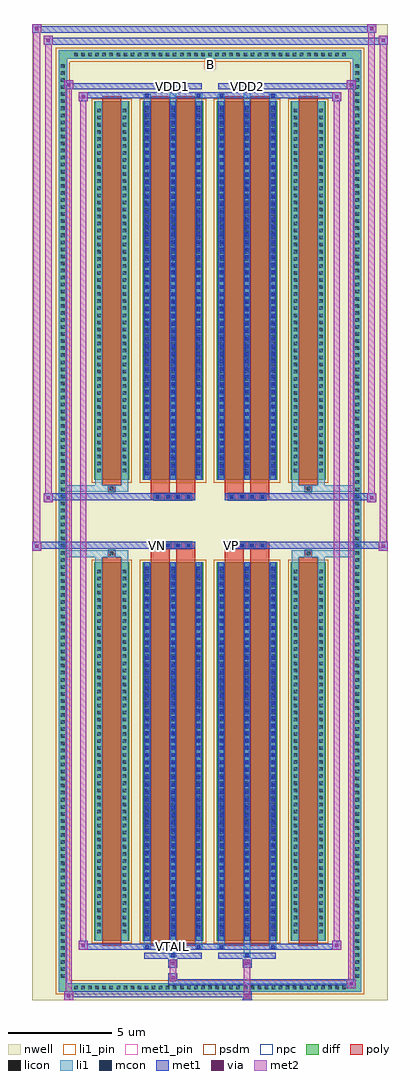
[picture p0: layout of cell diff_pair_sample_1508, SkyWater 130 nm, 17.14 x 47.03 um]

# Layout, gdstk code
import gdstk
lib = gdstk.Library(unit=1e-6, precision=5e-09)
def R(c, l, rs):  # rectangles x0, y0, x1, y1
    for r in rs: c.add(gdstk.rectangle(r[:2], r[2:], *l))
def A(c, l, x, y, w, h, nx, ny, dx, dy):  # array of equal rectangles
    R(c, l, [(x+i*dx, y+j*dy, x+i*dx+w, y+j*dy+h) for i in range(nx) for j in range(ny)])
def P(c, l, *ps):  # polygons
    for p in ps: c.add(gdstk.Polygon(p, *l))
nwell = (64, 20)
diff = (65, 20)
poly = (66, 20)
licon = (66, 44)
li1_pin = (67, 16)
li1 = (67, 20)
mcon = (67, 44)
met1_pin = (68, 16)
met1 = (68, 20)
via = (68, 44)
met2 = (69, 20)
psdm = (94, 20)
npc = (95, 20)

diff_pair_sample_1508 = lib.new_cell('diff_pair_sample_1508')
R(diff_pair_sample_1508, nwell, [(-8.57,-23.08,8.57,23.95), (-5.89,-21.27,-0.01,-0.805), (0.01,-21.27,5.89,-0.805), (-5.89,0.805,-0.01,21.27), (0.01,0.805,5.89,21.27)])
A(diff_pair_sample_1508, diff, -6.665, -22.68, 0.41, 0.41, 39, 2, 0.34, 44.95)
A(diff_pair_sample_1508, diff, -7.3, -22.135, 0.41, 0.41, 1, 130, 0, 0.34)
A(diff_pair_sample_1508, diff, 6.89, -22.135, 0.41, 0.41, 1, 130, 0, 0.34)
R(diff_pair_sample_1508, diff, [(-6.665,-22.68,6.665,-22.27), (-7.3,-22.135,-6.89,22.135), (6.89,-22.135,7.3,22.135), (-5.58,-20.225,-3.89,-1.985), (-3.25,-20.225,-0.32,-1.985), (0.32,-20.225,3.25,-1.985), (3.89,-20.225,5.58,-1.985), (-5.58,1.985,-3.89,20.225), (-3.25,1.985,-0.32,20.225), (0.32,1.985,3.25,20.225), (3.89,1.985,5.58,20.225), (-6.665,22.27,6.665,22.68)])
P(diff_pair_sample_1508, diff, [(7.3,22.68),(-7.3,22.68),(-7.3,-22.27),(-6.89,-22.27),(-6.89,22.27),(6.89,22.27),(6.89,-22.27),(-6.89,-22.27),(-7.3,-22.27),(-7.3,-22.68),(7.3,-22.68)])
A(diff_pair_sample_1508, poly, -2.7, -1.335, 0.33, 0.33, 4, 2, 0.5, 2.34)
A(diff_pair_sample_1508, poly, 0.87, -1.335, 0.33, 0.33, 4, 2, 0.5, 2.34)
R(diff_pair_sample_1508, poly, [(-5.19,-20.475,-4.28,-1.735), (-2.86,-20.475,-1.95,-1.735), (-1.62,-20.475,-0.71,-1.735), (0.71,-20.475,1.62,-1.735), (1.95,-20.475,2.86,-1.735), (4.28,-20.475,5.19,-1.735), (-4.9,-1.735,-4.57,-1.405), (-4.9,-1.735,-4.57,-1.405), (-2.86,-1.735,-1.95,-1.335), (-1.62,-1.735,-0.71,-1.335), (0.71,-1.735,1.62,-1.335), (1.95,-1.735,2.86,-1.335), (4.57,-1.735,4.9,-1.405), (4.57,-1.735,4.9,-1.405), (-2.86,-1.335,-0.71,-1.005), (0.71,-1.335,2.86,-1.005), (-2.86,1.005,-0.71,1.335), (0.71,1.005,2.86,1.335), (-2.86,1.335,-1.95,1.735), (-1.62,1.335,-0.71,1.735), (0.71,1.335,1.62,1.735), (1.95,1.335,2.86,1.735), (-4.9,1.405,-4.57,1.735), (-4.9,1.405,-4.57,1.735), (4.57,1.405,4.9,1.735), (4.57,1.405,4.9,1.735), (-5.19,1.735,-4.28,20.475), (-2.86,1.735,-1.95,20.475), (-1.62,1.735,-0.71,20.475), (0.71,1.735,1.62,20.475), (1.95,1.735,2.86,20.475), (4.28,1.735,5.19,20.475)])
A(diff_pair_sample_1508, licon, -6.545, -22.56, 0.17, 0.17, 39, 2, 0.34, 44.95)
A(diff_pair_sample_1508, licon, -7.18, -22.015, 0.17, 0.17, 1, 130, 0, 0.34)
A(diff_pair_sample_1508, licon, 7.01, -22.015, 0.17, 0.17, 1, 130, 0, 0.34)
A(diff_pair_sample_1508, licon, -5.44, -19.86, 0.17, 0.17, 1, 52, 0, 0.34)
A(diff_pair_sample_1508, licon, -4.2, -19.86, 0.17, 0.17, 1, 52, 0, 0.34)
A(diff_pair_sample_1508, licon, -3.11, -19.86, 0.17, 0.17, 3, 52, 1.24, 0.34)
A(diff_pair_sample_1508, licon, 0.46, -19.86, 0.17, 0.17, 3, 52, 1.24, 0.34)
A(diff_pair_sample_1508, licon, 4.03, -19.86, 0.17, 0.17, 1, 52, 0, 0.34)
A(diff_pair_sample_1508, licon, 5.27, -19.86, 0.17, 0.17, 1, 52, 0, 0.34)
A(diff_pair_sample_1508, licon, -2.62, -1.255, 0.17, 0.17, 4, 2, 0.5, 2.34)
A(diff_pair_sample_1508, licon, 0.95, -1.255, 0.17, 0.17, 4, 2, 0.5, 2.34)
A(diff_pair_sample_1508, licon, -5.44, 2.35, 0.17, 0.17, 1, 52, 0, 0.34)
A(diff_pair_sample_1508, licon, -4.2, 2.35, 0.17, 0.17, 1, 52, 0, 0.34)
A(diff_pair_sample_1508, licon, -3.11, 2.35, 0.17, 0.17, 3, 52, 1.24, 0.34)
A(diff_pair_sample_1508, licon, 0.46, 2.35, 0.17, 0.17, 3, 52, 1.24, 0.34)
A(diff_pair_sample_1508, licon, 4.03, 2.35, 0.17, 0.17, 1, 52, 0, 0.34)
A(diff_pair_sample_1508, licon, 5.27, 2.35, 0.17, 0.17, 1, 52, 0, 0.34)
R(diff_pair_sample_1508, licon, [(-4.82,-1.655,-4.65,-1.485), (4.65,-1.655,4.82,-1.485), (-4.82,1.485,-4.65,1.655), (4.65,1.485,4.82,1.655)])
R(diff_pair_sample_1508, li1_pin, [(-0.25,21.77,0.25,22.27)])
A(diff_pair_sample_1508, li1, -6.625, -22.64, 0.33, 0.33, 39, 2, 0.34, 44.95)
A(diff_pair_sample_1508, li1, -7.26, -22.095, 0.33, 0.33, 1, 130, 0, 0.34)
A(diff_pair_sample_1508, li1, 6.93, -22.095, 0.33, 0.33, 1, 130, 0, 0.34)
A(diff_pair_sample_1508, li1, -3.19, -20.225, 0.33, 18.24, 3, 2, 1.24, 22.21)
A(diff_pair_sample_1508, li1, 0.38, -20.225, 0.33, 18.24, 3, 2, 1.24, 22.21)
A(diff_pair_sample_1508, li1, -3.11, -20.01, 0.17, 0.17, 3, 50, 1.24, 0.36)
A(diff_pair_sample_1508, li1, -3.11, -20.01, 0.17, 17.81, 3, 2, 1.24, 22.21)
A(diff_pair_sample_1508, li1, 0.46, -20.01, 0.17, 0.17, 3, 50, 1.24, 0.36)
A(diff_pair_sample_1508, li1, 0.46, -20.01, 0.17, 17.81, 3, 2, 1.24, 22.21)
A(diff_pair_sample_1508, li1, -5.52, -19.94, 0.33, 0.33, 1, 52, 0, 0.34)
A(diff_pair_sample_1508, li1, -4.28, -19.94, 0.33, 0.33, 1, 52, 0, 0.34)
A(diff_pair_sample_1508, li1, -3.19, -19.94, 0.33, 0.33, 3, 52, 1.24, 0.34)
A(diff_pair_sample_1508, li1, 0.38, -19.94, 0.33, 0.33, 3, 52, 1.24, 0.34)
A(diff_pair_sample_1508, li1, 3.95, -19.94, 0.33, 0.33, 1, 52, 0, 0.34)
A(diff_pair_sample_1508, li1, 5.19, -19.94, 0.33, 0.33, 1, 52, 0, 0.34)
A(diff_pair_sample_1508, li1, -2.7, -1.335, 0.33, 0.33, 4, 2, 0.5, 2.34)
A(diff_pair_sample_1508, li1, 0.87, -1.335, 0.33, 0.33, 4, 2, 0.5, 2.34)
A(diff_pair_sample_1508, li1, -3.11, 2.2, 0.17, 0.17, 3, 50, 1.24, 0.36)
A(diff_pair_sample_1508, li1, 0.46, 2.2, 0.17, 0.17, 3, 50, 1.24, 0.36)
A(diff_pair_sample_1508, li1, -5.52, 2.27, 0.33, 0.33, 1, 52, 0, 0.34)
A(diff_pair_sample_1508, li1, -4.28, 2.27, 0.33, 0.33, 1, 52, 0, 0.34)
A(diff_pair_sample_1508, li1, -3.19, 2.27, 0.33, 0.33, 3, 52, 1.24, 0.34)
A(diff_pair_sample_1508, li1, 0.38, 2.27, 0.33, 0.33, 3, 52, 1.24, 0.34)
A(diff_pair_sample_1508, li1, 3.95, 2.27, 0.33, 0.33, 1, 52, 0, 0.34)
A(diff_pair_sample_1508, li1, 5.19, 2.27, 0.33, 0.33, 1, 52, 0, 0.34)
R(diff_pair_sample_1508, li1, [(-7.3,-22.68,-6.89,-22.27), (-7.3,-22.68,-6.89,-22.27), (-6.89,-22.68,6.89,-22.27), (6.89,-22.68,7.3,-22.27), (6.89,-22.68,7.3,-22.27), (-7.3,-22.27,-6.89,22.27), (6.89,-22.27,7.3,22.27), (-1.95,-21.03,-1.62,-20.225), (-1.87,-21.03,-1.7,-20.86), (1.62,-21.03,1.95,-20.225), (1.7,-21.03,1.87,-20.86), (-3.19,-20.6,-2.86,-20.225), (-3.11,-20.6,-2.94,-20.43), (-0.71,-20.6,-0.38,-20.225), (-0.63,-20.6,-0.46,-20.43), (0.38,-20.6,0.71,-20.225), (0.46,-20.6,0.63,-20.43), (2.86,-20.6,3.19,-20.225), (2.94,-20.6,3.11,-20.43), (-5.52,-20.225,-5.19,-1.985), (-4.28,-20.225,-3.95,-1.985), (3.95,-20.225,4.28,-1.985), (5.19,-20.225,5.52,-1.985), (-5.52,-1.985,-5.19,-1.405), (-4.28,-1.985,-3.95,-1.405), (3.95,-1.985,4.28,-1.405), (5.19,-1.985,5.52,-1.405), (-7.3,-1.735,-4.9,-1.405), (-5.52,-1.735,-4.9,-1.405), (-4.9,-1.735,-4.57,-1.405), (-4.57,-1.735,-3.95,-1.405), (3.95,-1.735,4.57,-1.405), (4.57,-1.735,4.9,-1.405), (4.57,-1.735,7.3,-1.405), (4.9,-1.735,5.52,-1.405), (-7.3,1.405,-4.9,1.735), (-5.52,1.405,-4.9,1.735), (-5.52,1.405,-5.19,1.985), (-4.9,1.405,-4.57,1.735), (-4.57,1.405,-3.95,1.735), (-4.28,1.405,-3.95,1.985), (3.95,1.405,4.57,1.735), (3.95,1.405,4.28,1.985), (4.57,1.405,4.9,1.735), (4.57,1.405,7.3,1.735), (4.9,1.405,5.52,1.735), (5.19,1.405,5.52,1.985), (-5.52,1.985,-5.19,20.225), (-4.28,1.985,-3.95,20.225), (3.95,1.985,4.28,20.225), (5.19,1.985,5.52,20.225), (-3.19,20.225,-2.86,20.6), (-1.95,20.225,-1.62,21.03), (-0.71,20.225,-0.38,20.6), (0.38,20.225,0.71,20.6), (1.62,20.225,1.95,21.03), (2.86,20.225,3.19,20.6), (-3.11,20.43,-2.94,20.6), (-0.63,20.43,-0.46,20.6), (0.46,20.43,0.63,20.6), (2.94,20.43,3.11,20.6), (-1.87,20.86,-1.7,21.03), (1.7,20.86,1.87,21.03), (-7.3,22.27,-6.89,22.68), (-7.3,22.27,-6.89,22.68), (-6.89,22.27,6.89,22.68), (6.89,22.27,7.3,22.68), (6.89,22.27,7.3,22.68)])
A(diff_pair_sample_1508, mcon, -3.11, -20.01, 0.17, 0.17, 3, 50, 1.24, 0.36)
A(diff_pair_sample_1508, mcon, 0.46, -20.01, 0.17, 0.17, 3, 50, 1.24, 0.36)
A(diff_pair_sample_1508, mcon, -2.62, -1.255, 0.17, 0.17, 4, 2, 0.5, 2.34)
A(diff_pair_sample_1508, mcon, 0.95, -1.255, 0.17, 0.17, 4, 2, 0.5, 2.34)
A(diff_pair_sample_1508, mcon, -3.11, 2.2, 0.17, 0.17, 3, 50, 1.24, 0.36)
A(diff_pair_sample_1508, mcon, 0.46, 2.2, 0.17, 0.17, 3, 50, 1.24, 0.36)
R(diff_pair_sample_1508, mcon, [(-1.87,-21.03,-1.7,-20.86), (1.7,-21.03,1.87,-20.86), (-3.11,-20.6,-2.94,-20.43), (-0.63,-20.6,-0.46,-20.43), (0.46,-20.6,0.63,-20.43), (2.94,-20.6,3.11,-20.43), (-3.11,20.43,-2.94,20.6), (-0.63,20.43,-0.46,20.6), (0.46,20.43,0.63,20.6), (2.94,20.43,3.11,20.6), (-1.87,20.86,-1.7,21.03), (1.7,20.86,1.87,21.03)])
R(diff_pair_sample_1508, met1_pin, [(-1.92,-20.64,-1.65,-20.37), (-2.67,-1.295,-2.4,-1.025), (0.9,-1.295,1.17,-1.025), (-1.92,20.82,-1.65,21.09), (1.65,20.82,1.92,21.09)])
A(diff_pair_sample_1508, met1, -3.17, -20.225, 0.29, 18.24, 3, 2, 1.24, 22.21)
A(diff_pair_sample_1508, met1, 0.4, -20.225, 0.29, 18.24, 3, 2, 1.24, 22.21)
A(diff_pair_sample_1508, met1, -3.17, -20.07, 0.29, 0.29, 3, 50, 1.24, 0.36)
A(diff_pair_sample_1508, met1, 0.4, -20.07, 0.29, 0.29, 3, 50, 1.24, 0.36)
A(diff_pair_sample_1508, met1, -2.68, -1.315, 0.29, 0.29, 4, 2, 0.5, 2.34)
A(diff_pair_sample_1508, met1, 0.89, -1.315, 0.29, 0.29, 4, 2, 0.5, 2.34)
A(diff_pair_sample_1508, met1, -3.17, 2.14, 0.29, 0.29, 3, 50, 1.24, 0.36)
A(diff_pair_sample_1508, met1, 0.4, 2.14, 0.29, 0.29, 3, 50, 1.24, 0.36)
R(diff_pair_sample_1508, met1, [(-7.03,-23.08,-6.6,-22.65), (1.57,-23.08,2,-22.65), (-7.03,-22.94,2,-22.65), (6.6,-22.51,7.03,-22.08), (-2,-22.37,7.03,-22.08), (-2,-22.23,-1.57,-21.8), (-2,-21.52,-1.57,-21.09), (1.57,-21.52,2,-21.09), (-3.17,-21.09,-0.4,-20.8), (-1.93,-21.09,-1.64,-20.8), (0.4,-21.09,3.17,-20.8), (1.64,-21.09,1.93,-20.8), (-6.32,-20.66,-5.89,-20.23), (-6.32,-20.66,-3.17,-20.37), (-3.17,-20.66,-2.88,-20.37), (-3.17,-20.66,-0.4,-20.37), (-0.69,-20.66,-0.4,-20.37), (-0.4,-20.66,0.4,-20.37), (0.4,-20.66,0.69,-20.37), (0.4,-20.66,3.17,-20.37), (2.88,-20.66,3.17,-20.37), (3.17,-20.66,6.32,-20.37), (5.89,-20.66,6.32,-20.23), (-8.57,-1.435,-8.14,-1.005), (8.14,-1.435,8.57,-1.005), (-8.57,-1.335,-0.71,-1.005), (-2.86,-1.335,-0.71,-1.005), (0.71,-1.335,2.86,-1.005), (0.71,-1.335,8.57,-1.005), (-8,0.905,-7.57,1.335), (7.57,0.905,8,1.335), (-8,1.005,-2.86,1.335), (-2.86,1.005,-0.71,1.335), (0.71,1.005,2.86,1.335), (2.86,1.005,8,1.335), (-6.32,20.23,-5.89,20.66), (5.89,20.23,6.32,20.66), (-6.32,20.37,-3.17,20.66), (-3.17,20.37,-2.88,20.66), (-3.17,20.37,-0.4,20.66), (-0.69,20.37,-0.4,20.66), (-0.4,20.37,0.4,20.66), (0.4,20.37,0.69,20.66), (0.4,20.37,3.17,20.66), (2.88,20.37,3.17,20.66), (3.17,20.37,6.32,20.66), (-7.03,20.8,-6.6,21.23), (-7.03,20.8,-3.17,21.09), (-3.17,20.8,-0.4,21.09), (-1.93,20.8,-1.64,21.09), (0.4,20.8,3.17,21.09), (1.64,20.8,1.93,21.09), (3.17,20.8,7.03,21.09), (6.6,20.8,7.03,21.23), (-8,22.95,-7.57,23.38), (-8,22.95,-5.89,23.28), (-5.89,22.95,5.89,23.28), (5.89,22.95,8.57,23.28), (8.14,22.95,8.57,23.38), (-8.57,23.52,-8.14,23.95), (-8.57,23.52,-5.89,23.85), (-5.89,23.52,5.89,23.85), (5.89,23.52,8,23.85), (7.57,23.52,8,23.95)])
R(diff_pair_sample_1508, via, [(-6.89,-22.94,-6.74,-22.79), (1.71,-22.94,1.86,-22.79), (6.74,-22.37,6.89,-22.22), (-1.86,-22.09,-1.71,-21.94), (-1.86,-21.38,-1.71,-21.23), (1.71,-21.38,1.86,-21.23), (-6.18,-20.52,-6.03,-20.37), (6.03,-20.52,6.18,-20.37), (-8.43,-1.295,-8.28,-1.145), (8.28,-1.295,8.43,-1.145), (-7.86,1.045,-7.71,1.195), (7.71,1.045,7.86,1.195), (-6.18,20.37,-6.03,20.52), (6.03,20.37,6.18,20.52), (-6.89,20.94,-6.74,21.09), (6.74,20.94,6.89,21.09), (-7.86,23.09,-7.71,23.24), (8.28,23.09,8.43,23.24), (-8.43,23.66,-8.28,23.81), (7.71,23.66,7.86,23.81)])
R(diff_pair_sample_1508, met2, [(-7.03,-23.08,-6.6,-22.65), (-6.96,-23.08,-6.67,21.23), (-6.67,-23.08,-6.6,-22.65), (-6.98,-23.03,-6.65,-22.7), (1.62,-23.03,1.95,-22.7), (1.62,-22.7,1.95,-21.47), (6.6,-22.51,7.03,-22.08), (6.67,-22.51,6.96,21.23), (6.96,-22.51,7.03,-22.08), (6.65,-22.46,6.98,-22.13), (-1.95,-22.18,-1.62,-21.85), (-1.95,-21.85,-1.62,-21.47), (-1.95,-21.47,-1.62,-21.14), (1.62,-21.47,1.95,-21.14), (-6.32,-20.66,-5.89,-20.23), (-6.25,-20.66,-5.96,20.66), (-5.96,-20.66,-5.89,-20.23), (5.89,-20.66,6.32,-20.23), (5.96,-20.66,6.25,20.66), (6.25,-20.66,6.32,-20.23), (-6.27,-20.61,-5.94,-20.28), (5.94,-20.61,6.27,-20.28), (-8.57,-1.435,-8.14,-1.005), (-8.52,-1.435,-8.19,23.95), (-8.19,-1.435,-8.14,-1.005), (8.14,-1.435,8.57,-1.005), (8.19,-1.435,8.52,23.38), (8.52,-1.435,8.57,-1.005), (-8.52,-1.385,-8.19,-1.055), (8.19,-1.385,8.52,-1.055), (-8,0.905,-7.57,1.335), (-7.95,0.905,-7.62,23.38), (-7.62,0.905,-7.57,1.335), (7.57,0.905,8,1.335), (7.62,0.905,7.95,23.95), (7.95,0.905,8,1.335), (-7.95,0.955,-7.62,1.285), (7.62,0.955,7.95,1.285), (-6.32,20.23,-5.89,20.66), (-5.96,20.23,-5.89,20.66), (5.89,20.23,6.32,20.66), (6.25,20.23,6.32,20.66), (-6.27,20.28,-5.94,20.61), (5.94,20.28,6.27,20.61), (-7.03,20.8,-6.6,21.23), (-6.67,20.8,-6.6,21.23), (6.6,20.8,7.03,21.23), (6.96,20.8,7.03,21.23), (-6.98,20.85,-6.65,21.18), (6.65,20.85,6.98,21.18), (-8,22.95,-7.57,23.38), (-7.62,22.95,-7.57,23.38), (8.14,22.95,8.57,23.38), (8.52,22.95,8.57,23.38), (-7.95,23,-7.62,23.33), (8.19,23,8.52,23.33), (-8.57,23.52,-8.14,23.95), (-8.19,23.52,-8.14,23.95), (7.57,23.52,8,23.95), (7.95,23.52,8,23.95), (-8.52,23.57,-8.19,23.9), (7.62,23.57,7.95,23.9)])
R(diff_pair_sample_1508, psdm, [(-5.71,-20.355,-3.76,-1.855), (-3.38,-20.355,-0.19,-1.855), (0.19,-20.355,3.38,-1.855), (3.76,-20.355,5.71,-1.855), (-5.71,1.855,-3.76,20.355), (-3.38,1.855,-0.19,20.355), (0.19,1.855,3.38,20.355), (3.76,1.855,5.71,20.355)])
P(diff_pair_sample_1508, psdm, [(7.43,22.81),(-7.43,22.81),(-7.43,-22.14),(-6.76,-22.14),(-6.76,22.14),(6.76,22.14),(6.76,-22.14),(-6.76,-22.14),(-7.43,-22.14),(-7.43,-22.81),(7.43,-22.81)])
A(diff_pair_sample_1508, npc, -2.72, -1.355, 0.37, 0.37, 4, 2, 0.5, 2.34)
A(diff_pair_sample_1508, npc, 0.85, -1.355, 0.37, 0.37, 4, 2, 0.5, 2.34)
R(diff_pair_sample_1508, npc, [(-4.92,-1.755,-4.55,-1.385), (4.55,-1.755,4.92,-1.385), (-2.72,-1.355,-1.85,-0.985), (-2.72,-1.355,-1.85,-0.985), (-2.22,-1.355,-1.35,-0.985), (-2.22,-1.355,-1.35,-0.985), (-1.72,-1.355,-0.85,-0.985), (-1.72,-1.355,-0.85,-0.985), (0.85,-1.355,1.72,-0.985), (0.85,-1.355,1.72,-0.985), (1.35,-1.355,2.22,-0.985), (1.35,-1.355,2.22,-0.985), (1.85,-1.355,2.72,-0.985), (1.85,-1.355,2.72,-0.985), (-2.72,0.985,-1.85,1.355), (-2.72,0.985,-1.85,1.355), (-2.22,0.985,-1.35,1.355), (-2.22,0.985,-1.35,1.355), (-1.72,0.985,-0.85,1.355), (-1.72,0.985,-0.85,1.355), (0.85,0.985,1.72,1.355), (0.85,0.985,1.72,1.355), (1.35,0.985,2.22,1.355), (1.35,0.985,2.22,1.355), (1.85,0.985,2.72,1.355), (1.85,0.985,2.72,1.355), (-4.92,1.385,-4.55,1.755), (4.55,1.385,4.92,1.755)])
diff_pair_sample_1508.add(gdstk.Label('VTAIL', (-1.785,-20.505), layer=68, texttype=5))
diff_pair_sample_1508.add(gdstk.Label('VN', (-2.535,-1.16), layer=68, texttype=5))
diff_pair_sample_1508.add(gdstk.Label('VP', (1.035,-1.16), layer=68, texttype=5))
diff_pair_sample_1508.add(gdstk.Label('B', (0,22.02), layer=67, texttype=5))
diff_pair_sample_1508.add(gdstk.Label('VDD2', (1.785,20.955), layer=68, texttype=5))
diff_pair_sample_1508.add(gdstk.Label('VDD1', (-1.785,20.955), layer=68, texttype=5))

lib.write_gds('diff_pair_sample_1508.gds')
